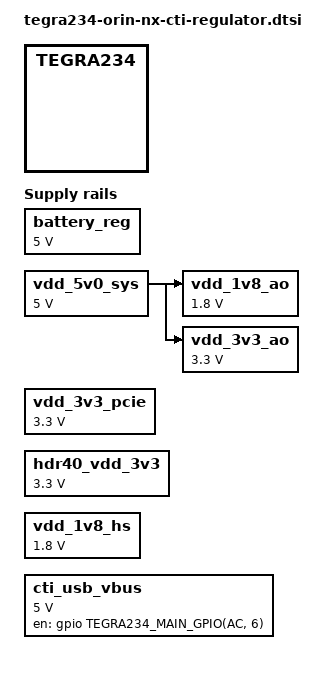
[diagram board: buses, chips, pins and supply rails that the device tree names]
/*
 * Copyright (c) 2022, Connect Tech Inc.  All rights reserved.
 *
 * This program is free software; you can redistribute it and/or modify it
 * under the terms and conditions of the GNU General Public License,
 * version 2, as published by the Free Software Foundation.
 *
 * This program is distributed in the hope it will be useful, but WITHOUT
 * ANY WARRANTY; without even the implied warranty of MERCHANTABILITY or
 * FITNESS FOR A PARTICULAR PURPOSE.  See the GNU General Public License for
 * more details.
 *
 * You should have received a copy of the GNU General Public License
 * along with this program.  If not, see <http://www.gnu.org/licenses/>.
 */

#include <dt-bindings/gpio/tegra234-gpio.h>
/ {
        battery_reg: regulator-battery-reg {
               compatible = "regulator-fixed";
               regulator-name = "VDD-AC-VAT";
               regulator-min-microvolt = <5000000>;
               regulator-max-microvolt = <5000000>;
               regulator-always-on;
         };
	    vdd_5v0_sys: regulator-vdd-5v0-sys {
            /* Enable is automatic with DC_IN */
            compatible = "regulator-fixed";
            regulator-name = "VDD_5V0_SYS";
            regulator-min-microvolt = <5000000>;
            regulator-max-microvolt = <5000000>;
            regulator-always-on;
        };

        vdd_3v3_pcie: regulator-vdd-3v3-pcie {
            compatible = "regulator-fixed";
            regulator-name = "VDD_3V3_PCIE";
            regulator-min-microvolt = <3300000>;
            regulator-max-microvolt = <3300000>;
            regulator-boot-on;
            regulator-always-on;
        };


        hdr40_vdd_3v3: p3768_vdd_3v3_sys: regulator@101 {
            /* BUCK_3V3_EN enable is driven by button MCU */
            compatible = "regulator-fixed";
            reg = <101>;
            regulator-name = "VDD_3V3_SYS";
            regulator-min-microvolt = <3300000>;
            regulator-max-microvolt = <3300000>;
            regulator-always-on;
        };
        vdd_1v8_hs: regulator-vdd-1v8-hs {
            /* BUCK_3V3_PG enable is driven by vdd_3v3_sys */
            compatible = "regulator-fixed";
            regulator-name = "VDD_1V8_HS";
            regulator-min-microvolt = <1800000>;
            regulator-max-microvolt = <1800000>;
            regulator-always-on;
        };
        vdd_1v8_ao: regulator-vdd-1v8-ao {
            /* BUCK_3V3_PG enable is driven by vdd_3v3_sys */
            compatible = "regulator-fixed";
            regulator-name = "VDD_1V8_AO";
            regulator-min-microvolt = <1800000>;
            regulator-max-microvolt = <1800000>;
            regulator-always-on;
            vin-supply = <&vdd_5v0_sys>;
        };

        vdd_3v3_ao: regulator-vdd-3v3-ao {
            /* BUCK_5V_PG enable is driven by 5v_sys */
            compatible = "regulator-fixed";
            regulator-name = "VDD_3V3_AO";
            regulator-min-microvolt = <3300000>;
            regulator-max-microvolt = <3300000>;
            regulator-always-on;
            vin-supply = <&vdd_5v0_sys>;
        };

        hdr40_vdd_3v3: p3768_vdd_3v3_sys: regulator@101 {
        /* BUCK_3V3_EN enable is driven by button MCU */
        compatible = "regulator-fixed";
        regulator-name = "VDD-3V3-SYS";
        regulator-min-microvolt = <3300000>;
        regulator-max-microvolt = <3300000>;
        regulator-always-on;
    };

        cti_usb_vbus: regulator@200 {
            compatible = "regulator-fixed";
            reg = <200>;
            status = "okay";
            regulator-name = "cti-usb-vbus";
            regulator-min-microvolt = <5000000>;
            regulator-max-microvolt = <5000000>;
            gpio = <&gpio TEGRA234_MAIN_GPIO(AC, 6) GPIO_ACTIVE_HIGH>;
            enable-active-high;
            //regulator-boot-on;
            regulator-always-on;
        };

};
